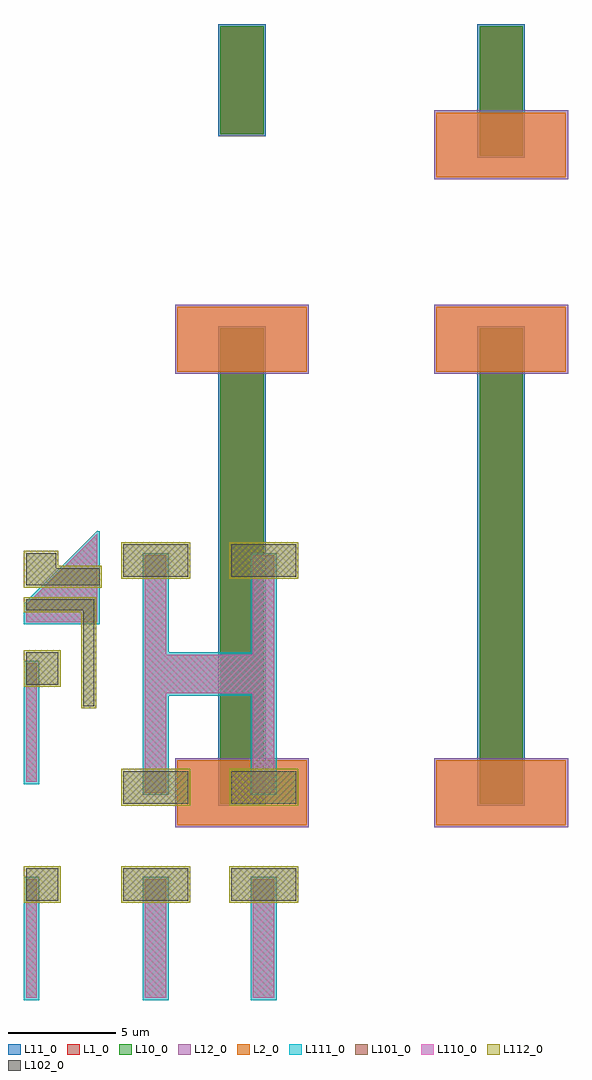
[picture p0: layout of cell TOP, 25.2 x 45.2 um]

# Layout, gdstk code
import gdstk
lib = gdstk.Library(unit=1e-6, precision=1e-09)
def R(c, l, rs):  # rectangles x0, y0, x1, y1
    for r in rs: c.add(gdstk.rectangle(r[:2], r[2:], *l))
def P(c, l, *ps):  # polygons
    for p in ps: c.add(gdstk.Polygon(p, *l))
L1_0 = (1, 0)
L2_0 = (2, 0)
L10_0 = (10, 0)
L11_0 = (11, 0)
L12_0 = (12, 0)
L101_0 = (101, 0)
L102_0 = (102, 0)
L110_0 = (110, 0)
L111_0 = (111, 0)
L112_0 = (112, 0)

top = lib.new_cell('TOP')
R(top, L1_0, [(9,9,11,20), (21,9,23,20), (9,20,11,31), (21,20,23,31), (21,39,23,45), (9,40,11,45)])
R(top, L2_0, [(7,8,13,11), (19,8,25,11), (7,29,13,32), (19,29,25,32), (19,38,25,41)])
R(top, L10_0, [(9,9,11,31), (21,9,23,31), (21,39,23,45), (9,40,11,45)])
R(top, L11_0, [(8.9,8.9,11.1,31.1), (20.9,8.9,23.1,31.1), (20.9,38.9,23.1,45.1), (8.9,39.9,11.1,45.1)])
R(top, L12_0, [(6.9,7.9,13.1,11.1), (18.9,7.9,25.1,11.1), (6.9,28.9,13.1,32.1), (18.9,28.9,25.1,32.1), (18.9,37.9,25.1,41.1)])
R(top, L101_0, [(0,0,0.5,5.5), (5.5,0,6.5,5.5), (10.5,0,11.5,5.5), (5.5,9.5,6.5,15), (10.5,9.5,11.5,15), (0,10,0.5,15.5), (5.8,14.1,11.1,15.9), (5.5,15,6.5,20.5), (10.5,15,11.5,20.5)])
P(top, L101_0, [(0,17.4),(0,18.2),(3.3,21.5),(3.3,17.4)])
R(top, L102_0, [(0,4.5,1.5,6), (4.5,4.5,7.5,6), (9.5,4.5,12.5,6), (4.5,9,7.5,10.5), (9.5,9,12.5,10.5), (0,14.5,1.5,16), (4.5,19.5,7.5,21), (9.5,19.5,12.5,21)])
P(top, L102_0, [(0,19.1),(0,20.6),(1.4,20.6),(1.4,19.9),(3.4,19.9),(3.4,19.1)],
  [(2.65,13.5),(2.65,17.95),(0,17.95),(0,18.45),(3.15,18.45),(3.15,13.5)])
R(top, L110_0, [(0,0,0.5,5.5), (5.5,0,6.5,5.5), (10.5,0,11.5,5.5), (0,10,0.5,15.5)])
P(top, L110_0, [(5.5,9.5),(5.5,20.5),(6.5,20.5),(6.5,15.9),(10.5,15.9),(10.5,20.5),(11.5,20.5),(11.5,9.5),(10.5,9.5),(10.5,14.1),(6.5,14.1),(6.5,9.5)],
  [(0,17.4),(0,18.2),(3.3,21.5),(3.3,17.4)])
R(top, L111_0, [(-0.1,-0.1,0.6,5.6), (5.4,-0.1,6.6,5.6), (10.4,-0.1,11.6,5.6), (-0.1,9.9,0.6,15.6)])
P(top, L111_0, [(5.4,9.4),(5.4,20.6),(6.6,20.6),(6.6,16),(10.4,16),(10.4,20.6),(11.6,20.6),(11.6,9.4),(10.4,9.4),(10.4,14),(6.6,14),(6.6,9.4)],
  [(-0.1,17.3),(-0.1,18.242),(3.3,21.642),(3.4,21.6),(3.4,17.3)])
R(top, L112_0, [(-0.1,4.4,1.6,6.1), (4.4,4.4,7.6,6.1), (9.4,4.4,12.6,6.1), (4.4,8.9,7.6,10.6), (9.4,8.9,12.6,10.6), (-0.1,14.4,1.6,16.1), (4.4,19.4,7.6,21.1), (9.4,19.4,12.6,21.1)])
P(top, L112_0, [(2.55,13.4),(2.55,17.85),(-0.1,17.85),(-0.1,18.55),(3.25,18.55),(3.25,13.4)],
  [(-0.1,19),(-0.1,20.7),(1.5,20.7),(1.5,20),(3.5,20),(3.5,19)])

lib.write_gds('TOP.gds')
